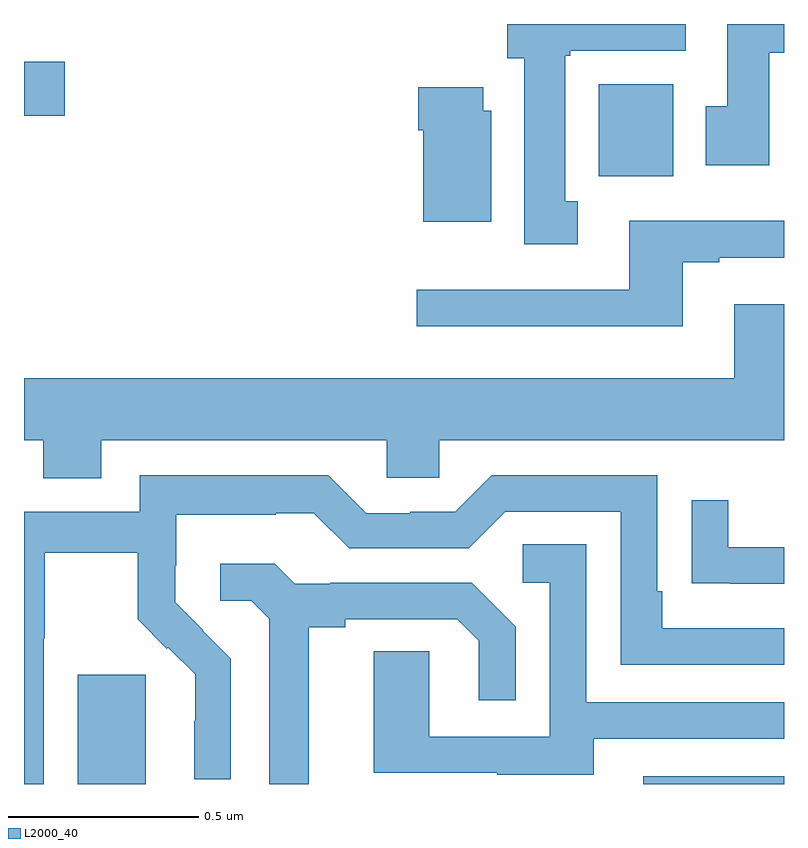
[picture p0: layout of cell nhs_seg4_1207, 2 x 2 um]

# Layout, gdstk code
import gdstk
lib = gdstk.Library(unit=1e-6, precision=1e-09)
def R(c, l, rs):  # rectangles x0, y0, x1, y1
    for r in rs: c.add(gdstk.rectangle(r[:2], r[2:], *l))
def P(c, l, *ps):  # polygons
    for p in ps: c.add(gdstk.Polygon(p, *l))
L2000_40 = (2000, 40)

nhs_seg4_1207 = lib.new_cell('nhs_seg4_1207')
R(nhs_seg4_1207, L2000_40, [(125.141,811.9,125.32,812.187), (126.629,811.9,127,811.92), (126.512,813.5,126.709,813.742), (125,813.659,125.107,813.801)])
P(nhs_seg4_1207, L2000_40, [(126.961,813.824),(127,813.824),(127,813.9),(126.851,813.9),(126.851,813.684),(126.794,813.684),(126.794,813.528),(126.961,813.528)],
  [(126.457,813.434),(126.424,813.434),(126.424,813.817),(126.438,813.817),(126.438,813.83),(126.742,813.83),(126.742,813.9),(126.272,813.9),(126.272,813.81),(126.317,813.81),(126.317,813.321),(126.457,813.321)],
  [(126.229,813.672),(126.208,813.672),(126.208,813.733),(126.038,813.733),(126.038,813.62),(126.05,813.62),(126.05,813.38),(126.229,813.38)],
  [(126.733,813.273),(126.829,813.273),(126.829,813.285),(127,813.285),(127,813.382),(126.593,813.382),(126.593,813.201),(126.033,813.201),(126.033,813.104),(126.733,813.104)],
  [(125.203,812.804),(125.955,812.804),(125.955,812.706),(126.093,812.706),(126.093,812.804),(127,812.804),(127,813.163),(126.869,813.163),(126.869,812.968),(125,812.968),(125,812.804),(125.051,812.804),(125.051,812.705),(125.203,812.705)],
  [(125.052,812.284),(125.055,812.284),(125.055,812.508),(125.299,812.508),(125.299,812.333),(125.376,812.256),(125.379,812.259),(125.45,812.189),(125.45,812.066),(125.448,812.066),(125.448,811.912),(125.544,811.912),(125.544,812.23),(125.471,812.303),(125.472,812.304),(125.398,812.378),(125.398,812.475),(125.4,812.475),(125.4,812.609),(125.663,812.609),(125.663,812.613),(125.763,812.613),(125.856,812.52),(126.171,812.52),(126.267,812.616),(126.57,812.616),(126.57,812.214),(127,812.214),(127,812.31),(126.679,812.31),(126.679,812.407),(126.666,812.407),(126.666,812.712),(126.231,812.712),(126.135,812.616),(126.017,812.616),(126.017,812.613),(125.901,812.613),(125.801,812.713),(125.304,812.713),(125.304,812.616),(125,812.616),(125,811.9),(125.052,811.9)],
  [(127,812.523),(126.853,812.523),(126.853,812.647),(126.757,812.647),(126.757,812.428),(126.859,812.428),(126.859,812.427),(127,812.427)],
  [(126.499,812.019),(127,812.019),(127,812.115),(126.48,812.115),(126.48,812.531),(126.312,812.531),(126.312,812.43),(126.384,812.43),(126.384,812.025),(126.066,812.025),(126.066,812.249),(125.921,812.249),(125.921,811.929),(126.245,811.929),(126.245,811.925),(126.499,811.925)],
  [(125.749,812.312),(125.845,812.312),(125.845,812.334),(126.14,812.334),(126.197,812.277),(126.197,812.121),(126.294,812.121),(126.294,812.314),(126.178,812.43),(125.806,812.43),(125.806,812.427),(125.712,812.427),(125.66,812.479),(125.517,812.479),(125.517,812.382),(125.598,812.382),(125.645,812.335),(125.645,811.9),(125.749,811.9)])

lib.write_gds('nhs_seg4_1207.gds')
